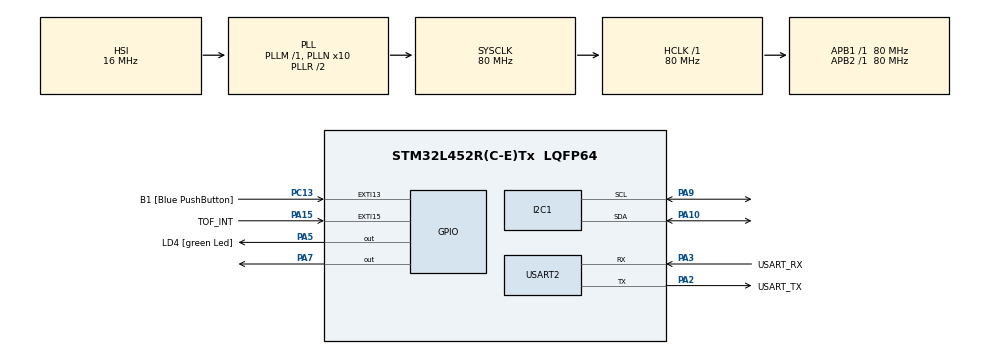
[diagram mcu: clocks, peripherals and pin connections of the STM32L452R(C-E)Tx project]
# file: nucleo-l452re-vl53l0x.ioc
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I2C1.Timing=0x10D19CE4
Mcu.Family=STM32L4
Mcu.Name=STM32L452R(C-E)Tx
Mcu.Package=LQFP64
NVIC.EXTI15_10_IRQn=true\:0\:0\:false\:false\:true\:true\:true\:true
NVIC.PriorityGroup=NVIC_PRIORITYGROUP_4
PA10.Mode=I2C
PA10.Signal=I2C1_SDA
PA13\ (JTMS/SWDIO).GPIO_Label=TMS
PA13\ (JTMS/SWDIO).Mode=Serial_Wire
PA13\ (JTMS/SWDIO).Signal=SYS_JTMS-SWDIO
PA14\ (JTCK/SWCLK).GPIO_Label=TCK
PA14\ (JTCK/SWCLK).Mode=Serial_Wire
PA14\ (JTCK/SWCLK).Signal=SYS_JTCK-SWCLK
PA15\ (JTDI).GPIO_Label=TOF_INT
PA15\ (JTDI).GPIO_ModeDefaultEXTI=GPIO_MODE_IT_FALLING
PA15\ (JTDI).GPIO_PuPd=GPIO_PULLUP
PA15\ (JTDI).Signal=GPXTI15
PA2.GPIO_Label=USART_TX
PA2.GPIO_Mode=GPIO_MODE_AF_PP
PA2.GPIO_PuPd=GPIO_NOPULL
PA2.GPIO_Speed=GPIO_SPEED_FREQ_VERY_HIGH
PA2.Mode=Asynchronous
PA2.Signal=USART2_TX
PA3.GPIO_Label=USART_RX
PA3.GPIO_Mode=GPIO_MODE_AF_PP
PA3.GPIO_PuPd=GPIO_NOPULL
PA3.GPIO_Speed=GPIO_SPEED_FREQ_VERY_HIGH
PA3.Mode=Asynchronous
PA3.Signal=USART2_RX
PA5.GPIO_Label=LD4 [green Led]
PA5.GPIO_ModeDefaultOutputPP=GPIO_MODE_OUTPUT_PP
PA5.GPIO_PuPd=GPIO_NOPULL
PA5.GPIO_Speed=GPIO_SPEED_FREQ_LOW
PA5.Signal=GPIO_Output
PA7.GPIO_PuPd=GPIO_PULLUP
PA7.Signal=GPIO_Output
PA9.Mode=I2C
PA9.Signal=I2C1_SCL
PB3\ (JTDO/TRACESWO).GPIO_Label=SWO
PB3\ (JTDO/TRACESWO).Signal=SYS_JTDO-SWO
PC13.GPIO_Label=B1 [Blue PushButton]
PC13.GPIO_ModeDefaultEXTI=GPIO_MODE_IT_FALLING
PC13.GPIO_PuPd=GPIO_NOPULL
PC13.Signal=GPXTI13
PC14-OSC32_IN\ (PC14).Mode=LSE-External-Oscillator
PC14-OSC32_IN\ (PC14).Signal=RCC_OSC32_IN
PC15-OSC32_OUT\ (PC15).Mode=LSE-External-Oscillator
PC15-OSC32_OUT\ (PC15).Signal=RCC_OSC32_OUT
PH0-OSC_IN\ (PH0).Signal=RCC_OSC_IN
PH1-OSC_OUT\ (PH1).Signal=RCC_OSC_OUT
ProjectManager.HeapSize=0x200
ProjectManager.StackSize=0x400
ProjectManager.TargetToolchain=STM32CubeIDE
RCC.ADCFreq_Value=64000000
RCC.AHBFreq_Value=80000000
RCC.APB1Freq_Value=80000000
RCC.APB1TimFreq_Value=80000000
RCC.APB2Freq_Value=80000000
RCC.APB2TimFreq_Value=80000000
RCC.CortexFreq_Value=80000000
RCC.HCLKFreq_Value=80000000
RCC.HSE_VALUE=8000000
RCC.HSI48_VALUE=48000000
RCC.HSI_VALUE=16000000
RCC.MSI_VALUE=4000000
RCC.PLLN=10
RCC.PLLSourceVirtual=RCC_PLLSOURCE_HSI
RCC.PREFETCH_ENABLE=1
RCC.SYSCLKFreq_VALUE=80000000
RCC.SYSCLKSource=RCC_SYSCLKSOURCE_PLLCLK
RCC.USBFreq_Value=64000000
RCC.VCOOutputFreq_Value=160000000
USART2.VirtualMode-Asynchronous=VM_ASYNC
board=NUCLEO-L452RE

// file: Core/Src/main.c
/* USER CODE BEGIN Header */
/**
  ******************************************************************************
  * @file           : main.c
  * @brief          : Main program body
  ******************************************************************************
  * @attention
  *
  * Copyright (c) 2025 STMicroelectronics.
  * All rights reserved.
  *
  * This software is licensed under terms that can be found in the LICENSE file
  * in the root directory of this software component.
  * If no LICENSE file comes with this software, it is provided AS-IS.
  *
  ******************************************************************************
  */
/* USER CODE END Header */
#include "main.h"

/* USER CODE BEGIN Includes */
#include <stdio.h>
#include "vl53l0x_api.h"
#include "vl53l0x.h"
/* USER CODE END Includes */

I2C_HandleTypeDef hi2c1;

UART_HandleTypeDef huart2;

/* USER CODE BEGIN PV */
uint8_t Message[64];
uint8_t MessageLen;

VL53L0X_RangingMeasurementData_t RangingData;
VL53L0X_Dev_t  vl53l0x_c; // center module
VL53L0X_DEV    Dev = &vl53l0x_c;
/* USER CODE END PV */

void SystemClock_Config(void);
static void MX_GPIO_Init(void);
static void MX_USART2_UART_Init(void);
static void MX_I2C1_Init(void);

/* USER CODE BEGIN 0 */
void HAL_GPIO_EXTI_Callback(uint16_t GPIO_Pin)
{
	VL53L0X_GetRangingMeasurementData(Dev, &RangingData);
	VL53L0X_ClearInterruptMask(Dev, 3);
	if(RangingData.RangeStatus == 0)
	{
		MessageLen = sprintf((char*)Message, "Measured distance: %i mm\n\r", RangingData.RangeMilliMeter);
		HAL_UART_Transmit(&huart2, Message, MessageLen, 100);
	}
	HAL_GPIO_TogglePin(LD4_GPIO_Port, LD4_Pin);
}
/* USER CODE END 0 */

int main(void)
{

  /* USER CODE BEGIN 1 */
	uint32_t refSpadCount;
	uint8_t isApertureSpads;
	uint8_t VhvSettings;
	uint8_t PhaseCal;
  /* USER CODE END 1 */

  /* MCU Configuration--------------------------------------------------------*/

  /* Reset of all peripherals, Initializes the Flash interface and the Systick. */
  HAL_Init();

  /* Configure the system clock */
  SystemClock_Config();

  /* Initialize all configured peripherals */
  MX_GPIO_Init();
  MX_USART2_UART_Init();
  MX_I2C1_Init();
  /* USER CODE BEGIN 2 */
  Dev->I2cHandle = &hi2c1;
  Dev->I2cDevAddr = 0x52;

  //XSHUT
  HAL_GPIO_WritePin(GPIOA, GPIO_PIN_7, GPIO_PIN_RESET);
  HAL_Delay(20);
  HAL_GPIO_WritePin(GPIOA, GPIO_PIN_7, GPIO_PIN_SET);
  HAL_Delay(20);

  //
  // VL53L0X init for Continuous Measurement by using Interrupt Pin and its (lower than) distance threshold
  //
  VL53L0X_WaitDeviceBooted( Dev );
  VL53L0X_DataInit( Dev );
  VL53L0X_StaticInit( Dev );
  VL53L0X_PerformRefCalibration(Dev, &VhvSettings, &PhaseCal);
  VL53L0X_PerformRefSpadManagement(Dev, &refSpadCount, &isApertureSpads);
  VL53L0X_SetDeviceMode(Dev, VL53L0X_DEVICEMODE_CONTINUOUS_RANGING);

  VL53L0X_SetGpioConfig(Dev, 0,
		  VL53L0X_DEVICEMODE_CONTINUOUS_RANGING,
		  VL53L0X_GPIOFUNCTIONALITY_THRESHOLD_CROSSED_LOW,
		  VL53L0X_INTERRUPTPOLARITY_LOW);
  VL53L0X_SetInterruptThresholds(Dev, VL53L0X_DEVICEMODE_CONTINUOUS_RANGING, 150 << 16, 150 << 16);

  // Enable/Disable Sigma and Signal check
  VL53L0X_SetLimitCheckEnable(Dev, VL53L0X_CHECKENABLE_SIGMA_FINAL_RANGE, 1);
  VL53L0X_SetLimitCheckEnable(Dev, VL53L0X_CHECKENABLE_SIGNAL_RATE_FINAL_RANGE, 1);
  VL53L0X_SetLimitCheckValue(Dev, VL53L0X_CHECKENABLE_SIGNAL_RATE_FINAL_RANGE, (FixPoint1616_t)(0.1*65536));
  VL53L0X_SetLimitCheckValue(Dev, VL53L0X_CHECKENABLE_SIGMA_FINAL_RANGE, (FixPoint1616_t)(60*65536));
  VL53L0X_SetMeasurementTimingBudgetMicroSeconds(Dev, 33000);
  VL53L0X_SetVcselPulsePeriod(Dev, VL53L0X_VCSEL_PERIOD_PRE_RANGE, 18);
  VL53L0X_SetVcselPulsePeriod(Dev, VL53L0X_VCSEL_PERIOD_FINAL_RANGE, 14);

  vl53l0x_log("Done!");

  VL53L0X_StartMeasurement(Dev);

  /* USER CODE END 2 */

  /* Infinite loop */
  while (1)
  {

    /* USER CODE BEGIN 3 */
	  HAL_SuspendTick();
	  HAL_PWR_EnableSleepOnExit ();
	  HAL_PWR_EnterSLEEPMode(PWR_MAINREGULATOR_ON, PWR_SLEEPENTRY_WFI);
  }
  /* USER CODE END 3 */
}

void SystemClock_Config(void)
{
  RCC_OscInitTypeDef RCC_OscInitStruct = {0};
  RCC_ClkInitTypeDef RCC_ClkInitStruct = {0};

  /** Configure the main internal regulator output voltage
  */
  if (HAL_PWREx_ControlVoltageScaling(PWR_REGULATOR_VOLTAGE_SCALE1) != HAL_OK)
  {
    Error_Handler();
  }

  /** Initializes the RCC Oscillators according to the specified parameters
  * in the RCC_OscInitTypeDef structure.
  */
  RCC_OscInitStruct.OscillatorType = RCC_OSCILLATORTYPE_HSI;
  RCC_OscInitStruct.HSIState = RCC_HSI_ON;
  RCC_OscInitStruct.HSICalibrationValue = 64;
  RCC_OscInitStruct.PLL.PLLState = RCC_PLL_ON;
  RCC_OscInitStruct.PLL.PLLSource = RCC_PLLSOURCE_HSI;
  RCC_OscInitStruct.PLL.PLLM = 1;
  RCC_OscInitStruct.PLL.PLLN = 10;
  RCC_OscInitStruct.PLL.PLLP = RCC_PLLP_DIV7;
  RCC_OscInitStruct.PLL.PLLQ = RCC_PLLQ_DIV2;
  RCC_OscInitStruct.PLL.PLLR = RCC_PLLR_DIV2;
  if (HAL_RCC_OscConfig(&RCC_OscInitStruct) != HAL_OK)
  {
    Error_Handler();
  }

  /** Initializes the CPU, AHB and APB buses clocks
  */
  RCC_ClkInitStruct.ClockType = RCC_CLOCKTYPE_HCLK|RCC_CLOCKTYPE_SYSCLK
                              |RCC_CLOCKTYPE_PCLK1|RCC_CLOCKTYPE_PCLK2;
  RCC_ClkInitStruct.SYSCLKSource = RCC_SYSCLKSOURCE_PLLCLK;
  RCC_ClkInitStruct.AHBCLKDivider = RCC_SYSCLK_DIV1;
  RCC_ClkInitStruct.APB1CLKDivider = RCC_HCLK_DIV1;
  RCC_ClkInitStruct.APB2CLKDivider = RCC_HCLK_DIV1;

  if (HAL_RCC_ClockConfig(&RCC_ClkInitStruct, FLASH_LATENCY_4) != HAL_OK)
  {
    Error_Handler();
  }
}

static void MX_I2C1_Init(void)
{

  hi2c1.Instance = I2C1;
  hi2c1.Init.Timing = 0x10D19CE4;
  hi2c1.Init.OwnAddress1 = 0;
  hi2c1.Init.AddressingMode = I2C_ADDRESSINGMODE_7BIT;
  hi2c1.Init.DualAddressMode = I2C_DUALADDRESS_DISABLE;
  hi2c1.Init.OwnAddress2 = 0;
  hi2c1.Init.OwnAddress2Masks = I2C_OA2_NOMASK;
  hi2c1.Init.GeneralCallMode = I2C_GENERALCALL_DISABLE;
  hi2c1.Init.NoStretchMode = I2C_NOSTRETCH_DISABLE;
  if (HAL_I2C_Init(&hi2c1) != HAL_OK)
  {
    Error_Handler();
  }

  /** Configure Analogue filter
  */
  if (HAL_I2CEx_ConfigAnalogFilter(&hi2c1, I2C_ANALOGFILTER_ENABLE) != HAL_OK)
  {
    Error_Handler();
  }

  /** Configure Digital filter
  */
  if (HAL_I2CEx_ConfigDigitalFilter(&hi2c1, 0) != HAL_OK)
  {
    Error_Handler();
  }

}

static void MX_USART2_UART_Init(void)
{

  huart2.Instance = USART2;
  huart2.Init.BaudRate = 115200;
  huart2.Init.WordLength = UART_WORDLENGTH_8B;
  huart2.Init.StopBits = UART_STOPBITS_1;
  huart2.Init.Parity = UART_PARITY_NONE;
  huart2.Init.Mode = UART_MODE_TX_RX;
  huart2.Init.HwFlowCtl = UART_HWCONTROL_NONE;
  huart2.Init.OverSampling = UART_OVERSAMPLING_16;
  huart2.Init.OneBitSampling = UART_ONE_BIT_SAMPLE_DISABLE;
  huart2.AdvancedInit.AdvFeatureInit = UART_ADVFEATURE_NO_INIT;
  if (HAL_UART_Init(&huart2) != HAL_OK)
  {
    Error_Handler();
  }

}

static void MX_GPIO_Init(void)
{
  GPIO_InitTypeDef GPIO_InitStruct = {0};

  /* GPIO Ports Clock Enable */
  __HAL_RCC_GPIOC_CLK_ENABLE();
  __HAL_RCC_GPIOH_CLK_ENABLE();
  __HAL_RCC_GPIOA_CLK_ENABLE();
  __HAL_RCC_GPIOB_CLK_ENABLE();

  /*Configure GPIO pin Output Level */
  HAL_GPIO_WritePin(GPIOA, LD4_Pin|GPIO_PIN_7, GPIO_PIN_RESET);

  /*Configure GPIO pin : B1_Pin */
  GPIO_InitStruct.Pin = B1_Pin;
  GPIO_InitStruct.Mode = GPIO_MODE_IT_FALLING;
  GPIO_InitStruct.Pull = GPIO_NOPULL;
  HAL_GPIO_Init(B1_GPIO_Port, &GPIO_InitStruct);

  /*Configure GPIO pin : LD4_Pin */
  GPIO_InitStruct.Pin = LD4_Pin;
  GPIO_InitStruct.Mode = GPIO_MODE_OUTPUT_PP;
  GPIO_InitStruct.Pull = GPIO_NOPULL;
  GPIO_InitStruct.Speed = GPIO_SPEED_FREQ_LOW;
  HAL_GPIO_Init(LD4_GPIO_Port, &GPIO_InitStruct);

  /*Configure GPIO pin : PA7 */
  GPIO_InitStruct.Pin = GPIO_PIN_7;
  GPIO_InitStruct.Mode = GPIO_MODE_OUTPUT_PP;
  GPIO_InitStruct.Pull = GPIO_PULLUP;
  GPIO_InitStruct.Speed = GPIO_SPEED_FREQ_LOW;
  HAL_GPIO_Init(GPIOA, &GPIO_InitStruct);

  /*Configure GPIO pin : TOF_INT_Pin */
  GPIO_InitStruct.Pin = TOF_INT_Pin;
  GPIO_InitStruct.Mode = GPIO_MODE_IT_FALLING;
  GPIO_InitStruct.Pull = GPIO_PULLUP;
  HAL_GPIO_Init(TOF_INT_GPIO_Port, &GPIO_InitStruct);

  /* EXTI interrupt init*/
  HAL_NVIC_SetPriority(EXTI15_10_IRQn, 0, 0);
  HAL_NVIC_EnableIRQ(EXTI15_10_IRQn);

}

void Error_Handler(void)
{
  __disable_irq();
  while (1)
  {
  }
}
